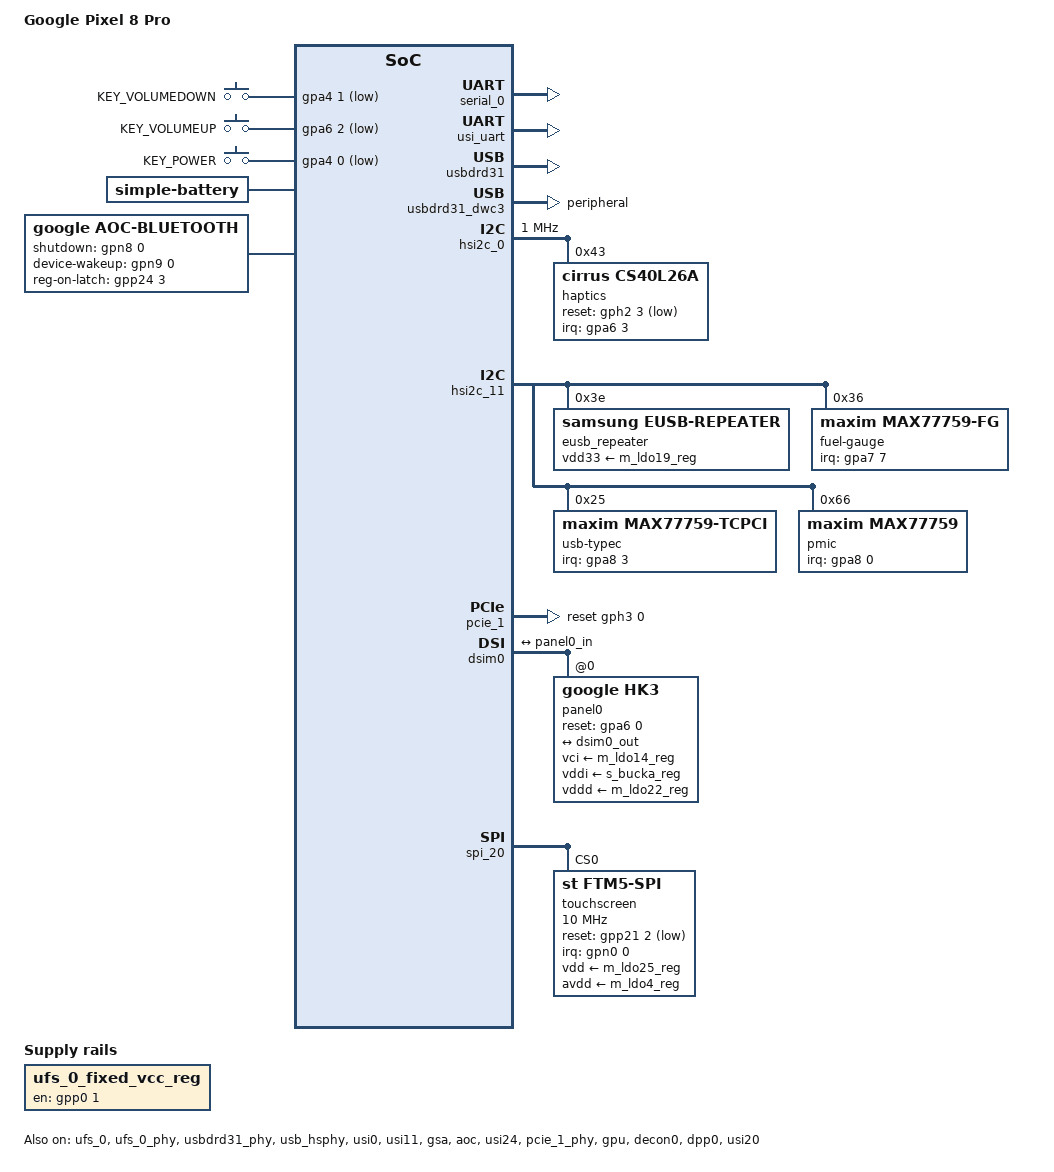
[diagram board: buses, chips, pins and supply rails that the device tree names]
// SPDX-License-Identifier: GPL-2.0-only
/*
 * Google Pixel 8 Pro (husky) device tree.
 *
 * Described and working: UFS, USB peripheral, buttons, ramoops, the s2mpg14/15
 * PMICs, the HK3 panel through DECON/DSIM, FTM5 touch (AoC tap to wake),
 * the Mali-G715 GPU, CPU DVFS and thermal, the MAX77759 fuel gauge, TCPC and
 * charger, CS40L26 haptics, the AoC (sensors, audio, Bluetooth) and the
 * BCM4398 Wi-Fi on PCIe. Not described yet: the Exynos 5300 modem, cameras,
 * fingerprint, USB host/dual-role and USB PD fast charging.
 *
 * Board values come from kernel/devices/google/shusky and .../zuma,
 * branch android-gs-shusky-6.1-android16:
 *  - keys gpa4-0 / gpa4-1 / gpa6-2 (zuma-common.dtsi) -- same as zumapro;
 *  - UFS VCC enable on gpp0-1 (zuma-ufs.dtsi);
 *  - eUSB2 repeater @0x3e on hsi2c_11, with shusky's tuning
 *    (zuma-shusky-usb.dtsi; zumapro boards use hsi2c_9);
 *  - DECON0 at 0x19470000 (zuma-drm-dpu.dtsi).
 */

/dts-v1/;

#include <dt-bindings/gpio/gpio.h>
#include <dt-bindings/input/input.h>
#include <dt-bindings/usb/pd.h>
#include "zumapro-pinctrl.h"
#include "zuma.dtsi"
#include "zumapro-caimito-cs35l41.dtsi"

/ {
	model = "Google Pixel 8 Pro";
	compatible = "google,husky", "google,zuma-husky", "google,zuma";
	chassis-type = "handset";

	aliases {
		serial0 = &serial_0;
	};

	chosen {
		/*
		 * The bootloader requires bootargs to exist. Its content is
		 * unused: CONFIG_CMDLINE_FORCE replaces it.
		 */
		bootargs = "";

		/* Filled at boot with an allowlist of the bootloader's board info
		 * (stage/major/minor, sku), which the Wi-Fi driver uses to pick
		 * region files; see luma_import_board_info(). */
		config {
		};

		plat {
		};
	};

	/*
	 * Only the first 2 GiB bank is described here (inherited from
	 * zumapro.dtsi). The other banks are imported from the bootloader's
	 * FDT at boot (luma_import_memory()).
	 */

	gpio-keys {
		compatible = "gpio-keys";
		pinctrl-0 = <&key_voldown>, <&key_volup>, <&key_power>;
		pinctrl-names = "default";

		button-vol-down {
			label = "KEY_VOLUMEDOWN";
			linux,code = <KEY_VOLUMEDOWN>;
			gpios = <&gpa4 1 GPIO_ACTIVE_LOW>;
			wakeup-source;
		};

		button-vol-up {
			label = "KEY_VOLUMEUP";
			linux,code = <KEY_VOLUMEUP>;
			gpios = <&gpa6 2 GPIO_ACTIVE_LOW>;
			wakeup-source;
		};

		button-power {
			label = "KEY_POWER";
			linux,code = <KEY_POWER>;
			gpios = <&gpa4 0 GPIO_ACTIVE_LOW>;
			wakeup-source;
		};
	};

	ufs_0_fixed_vcc_reg: regulator-1 {
		compatible = "regulator-fixed";
		regulator-name = "ufs-vcc";
		gpio = <&gpp0 1 GPIO_ACTIVE_HIGH>;
		enable-active-high;
		regulator-boot-on;
		/* Nothing else holds it; without always-on the rootfs loses power. */
		regulator-always-on;
	};
};

&pinctrl_gpio_alive {
	key_power: key-power-pins {
		samsung,pins = "gpa4-0";
		samsung,pin-function = <GS101_PIN_FUNC_EINT>;
		samsung,pin-pud = <GS101_PIN_PULL_UP>;
		samsung,pin-drv = <GS101_PIN_DRV_2_5_MA>;
	};

	key_volup: key-volup-pins {
		samsung,pins = "gpa6-2";
		samsung,pin-function = <GS101_PIN_FUNC_EINT>;
		samsung,pin-pud = <GS101_PIN_PULL_NONE>;
		samsung,pin-drv = <GS101_PIN_DRV_2_5_MA>;
	};

	key_voldown: key-voldown-pins {
		samsung,pins = "gpa4-1";
		samsung,pin-function = <GS101_PIN_FUNC_EINT>;
		samsung,pin-pud = <GS101_PIN_PULL_NONE>;
		samsung,pin-drv = <GS101_PIN_DRV_2_5_MA>;
	};

	/* FG_INT_L, XEINT_21 (zuma-shusky-battery.dtsi if_pmic_fg_irq) */
	if_pmic_fg_int: if-pmic-fg-int-pins {
		samsung,pins = "gpa7-7";
		samsung,pin-function = <GS101_PIN_FUNC_EINT>;
		samsung,pin-pud = <GS101_PIN_PULL_UP>;
	};

	/* USB_PD_INT_L (max777x9-tcpc.dtsi usb_pd_irq), as Pixel 9 */
	typec_int: typec-int-pins {
		samsung,pins = "gpa8-3";
		samsung,pin-function = <GS101_PIN_FUNC_EINT>;
		samsung,pin-pud = <GS101_PIN_PULL_UP>;
		samsung,pin-drv = <GS101_PIN_DRV_2_5_MA>;
	};

	/* IF_PMIC_INT_L (zuma-shusky-battery.dtsi if_pmic_irq), as Pixel 9 */
	if_pmic_int: if-pmic-int-pins {
		samsung,pins = "gpa8-0";
		samsung,pin-function = <GS101_PIN_FUNC_EINT>;
		samsung,pin-pud = <GS101_PIN_PULL_UP>;
		samsung,pin-drv = <GS101_PIN_DRV_2_5_MA>;
	};

	/* Haptics IRQ, XEINT_11 (zuma-shusky-haptics.dtsi hapt_amp1_irq) */
	hapt_amp1_irq: hapt-amp1-irq-pins {
		samsung,pins = "gpa6-3";
		samsung,pin-function = <GS101_PIN_FUNC_EINT>;
		samsung,pin-pud = <GS101_PIN_PULL_NONE>;
	};
};

&pinctrl_hsi1 {
	/* Haptics reset (active low) and trigger, XHSI1_GPIO13 / GPIO10 */
	hapt_amp1_rst: hapt-amp1-rst-pins {
		samsung,pins = "gph2-3";
		samsung,pin-function = <GS101_PIN_FUNC_OUTPUT>;
		samsung,pin-pud = <GS101_PIN_PULL_NONE>;
	};

	hapt_amp_trig: hapt-amp-trig-pins {
		samsung,pins = "gph2-0";
		samsung,pin-function = <GS101_PIN_FUNC_OUTPUT>;
		samsung,pin-pud = <GS101_PIN_PULL_NONE>;
	};
};

&ext_24_5m {
	clock-frequency = <24576000>;
};

&ext_200m {
	clock-frequency = <200000000>;
};

&ext_26m {
	clock-frequency = <26000000>;
};

&ext_1m {
	clock-frequency = <1000000>;
};

&serial_0 {
	status = "okay";
};

&usi_uart {
	samsung,clkreq-on;
	status = "okay";
};

&ufs_0 {
	/*
	 * Only VCC is switched (gpp0-1). VCCQ and the host's rails are
	 * always-on PMIC rails (downstream zuma-pmic.dtsi: L6M_HSI, L24S_HSI,
	 * L2S_PLL_MIPI_UFS) that downstream does not hand to UFS either.
	 */
	vcc-supply = <&ufs_0_fixed_vcc_reg>;
	vcc-max-microamp = <0>;
	status = "okay";
};

&ufs_0_phy {
	status = "okay";
};

/* USB: peripheral only (no USB-C controller yet), for the NCM gadget. */
&usbdrd31 {
	status = "okay";
};

&usbdrd31_dwc3 {
	dr_mode = "peripheral";
	maximum-speed = "high-speed";
	status = "okay";
};

&usbdrd31_phy {
	status = "okay";
};

&usb_hsphy {
	vdd-supply = <&m_ldo8_reg>;
	vdda12-supply = <&m_ldo9_reg>;
	status = "okay";
};

/*
 * Haptics: Cirrus CS40L26A on hsi2c_0 @0x43, values from
 * zuma-shusky-haptics.dtsi. The driver (drivers/input/misc/cs40l26, from
 * Google's downstream) loads cs40l26.wmfw and the cs40l26*.bin wavetables
 * from husky's vendor partition; they are not redistributable and are never
 * shipped with the kernel. VA/VP have no regulator here: the bootloader leaves
 * both on. The ASoC codec child (haptics from the AoC audio path) is not
 * described yet.
 */
&usi0 {
	samsung,mode = <USI_MODE_I2C>;
	status = "okay";
};

&hsi2c_0 {
	clock-frequency = <1000000>;
	status = "okay";

	haptics@43 {
		compatible = "cirrus,cs40l26a";
		reg = <0x43>;
		input-device-name = "cs40l26_input";
		pinctrl-0 = <&hapt_amp1_irq>, <&hapt_amp1_rst>, <&hapt_amp_trig>;
		pinctrl-names = "default";
		interrupts-extended = <&gpa6 3 IRQ_TYPE_LEVEL_LOW>;
		reset-gpios = <&gph2 3 GPIO_ACTIVE_LOW>;

		cirrus,bst-dcm-en = <0>;
		cirrus,pwle-zero-cross-en;
		cirrus,vpbr-enable;
		cirrus,vpbr-thld-uv = <3008000>;	/* 3.008 V */
		cirrus,bst-expl-mode-disable;
		cirrus,bst-ipk-microamp = <2500000>;	/* 2.5 A */
		cirrus,bst-ctl-microvolt = <11000000>;	/* 11 V */
		cirrus,f0-default = <0x244000>;		/* 145 Hz */
		cirrus,redc-default = <0x68000>;	/* 13 Ohm */
		cirrus,pm-active-timeout-ms = <5>;
	};
};

&usi11 {
	samsung,mode = <USI_MODE_I2C>;
	status = "okay";
};

&hsi2c_11 {
	status = "okay";

	eusb_repeater: eusb-repeater@3e {
		compatible = "samsung,eusb-repeater";
		reg = <0x3e>;
		#phy-cells = <0>;
		vdd33-supply = <&m_ldo19_reg>;
		/* zuma-shusky-usb.dtsi repeater_tune1..8 */
		samsung,tune-param = <0x50 0x0a>,
				     <0x70 0x3c>,
				     <0x71 0x2c>,
				     <0x72 0x90>,
				     <0x73 0x83>,
				     <0x77 0x00>,
				     <0x78 0x0b>,
				     <0x79 0x40>;
	};

	/*
	 * The MAX77759's fuel gauge (zuma-shusky-battery.dtsi max77759_fg),
	 * read-only: with no monitored-battery the driver never reprograms
	 * the gauge, so it keeps the model Android learned.
	 */
	fuel-gauge@36 {
		compatible = "maxim,max77759-fg";
		reg = <0x36>;
		pinctrl-0 = <&if_pmic_fg_int>;
		pinctrl-names = "default";
		interrupts-extended = <&gpa7 7 IRQ_TYPE_LEVEL_LOW>;
		/* maxim,rsense-default = <500> (10 uOhm units) */
		shunt-resistor-micro-ohms = <5000>;
	};

	/*
	 * USB-C: the MAX77759 TCPC as a sink-only, device-only port with PD
	 * off, and no role-switch/orientation links, so it never sources VBUS
	 * or moves the dwc3 off the peripheral role. Its job is to tell the
	 * charger what the source offers (Rp current). Until the charger
	 * driver loads, charging stays as the bootloader set it. Dual-role,
	 * PD/PPS and the PCA9468 fast charger come later.
	 */
	usb-typec@25 {
		compatible = "maxim,max77759-tcpci", "maxim,max33359";
		reg = <0x25>;
		interrupts-extended = <&gpa8 3 IRQ_TYPE_LEVEL_LOW>;
		pinctrl-0 = <&typec_int>;
		pinctrl-names = "default";

		connector {
			compatible = "usb-c-connector";
			label = "USB-C";
			data-role = "device";
			power-role = "sink";
			self-powered;
			op-sink-microwatt = <2600000>;
			slow-charger-loop;
			sink-pdos = <PDO_FIXED(5000, 3000, PDO_FIXED_USB_COMM)>;
			pd-disable;
			typec-power-opmode = "default";
		};
	};

	/*
	 * The MAX77759 PMIC: its MFD creates the charger cell. The mainline
	 * charger switches charging off at probe and back on only while the
	 * TCPC reports a source; it programs the battery node below, which
	 * repeats exactly what husky's bootloader leaves set (CHG_CNFG_02
	 * 0x1d = 1.933 A, CHG_CNFG_04 0x23 = 4.35 V). Stock
	 * Android steps 4.20-4.48 V by temperature (zuma-shusky-battery.dtsi);
	 * neither the bootloader nor this does, so stay at the bootloader's
	 * values.
	 */
	pmic@66 {
		compatible = "maxim,max77759";
		reg = <0x66>;
		pinctrl-0 = <&if_pmic_int>;
		pinctrl-names = "default";
		interrupts-extended = <&gpa8 0 IRQ_TYPE_LEVEL_LOW>;
		interrupt-controller;
		#interrupt-cells = <2>;
		monitored-battery = <&battery>;

		gpio {
			compatible = "maxim,max77759-gpio";
			gpio-controller;
			#gpio-cells = <2>;
			interrupt-controller;
			#interrupt-cells = <2>;
		};
	};
};

/ {
	battery: battery {
		compatible = "simple-battery";
		charge-full-design-microamp-hours = <4950000>;
		constant-charge-current-max-microamp = <1933420>;
		constant-charge-voltage-max-microvolt = <4350000>;
	};
};

/* Ramoops geometry matching the zumapro boards' stock layout. */
&{/reserved-memory/ramoops@fd3ff000} {
	record-size = <0>;
	console-size = <0x200000>;
	pmsg-size = <0x200000>;
};

/* Everything not yet driven stays off. */

/*
 * AoC (Always-On Compute): audio, sensors and the Bluetooth HCI path.  Same
 * blocks and carveout as zumapro; husky's own image from the vendor partition
 * (firmware/aoc.bin, not redistributable) staged as google/zuma/aoc.bin.
 * Board id/rev from downstream zuma-husky-audio.dtsi (aoc-board-cfg "HK3").
 */
&gsa {
	status = "okay";
};

&aoc {
	firmware-name = "google/zuma/aoc.bin";
	aoc-board-id = <0x40202>;
	aoc-board-rev = <0x10000>;

	sensor_1v8-supply = <&s_ldo7_reg>;
	sensor_3v3-supply = <&s_ldo5_reg>;

	/*
	 * husky's sensor registry: /vendor/etc/sensors/registry, copied
	 * unmodified.  Each script filters itself by the CDT built from
	 * /chosen/plat; common first, stage scripts, then the appends.
	 */
	google,usf-registry = "google/usf/husky/husky_common.reg",
			      "google/usf/husky/husky_proto_1_0.reg",
			      "google/usf/husky/husky_proto_1_1.reg",
			      "google/usf/husky/husky_evt.reg",
			      "google/usf/husky/husky_dvt.reg",
			      "google/usf/husky/append/motion_state.reg",
			      "google/usf/husky/append/power.reg";
	status = "okay";
};

/*
 * Speakers: the same two CS35L41 amplifiers on spi_19 (HSI0 USI1) as Pixel 9,
 * fed by the AoC's TDM_0 (zumapro-caimito-cs35l41.dtsi, aoc-sound card). The
 * right amp is wired identically; the left amp's interrupt and reset differ
 * (downstream zuma-shusky-audio.dtsi: INTB gpa5-2, RESET gpp1-1, plain GPIO,
 * so no pinmux). The HSI0 USI1 clock gate, mux, divider and sysreg offsets
 * match downstream zuma.
 */
&usi24 {
	samsung,mode = <USI_MODE_SPI>;
	status = "okay";
};

&cs35l41_l {
	/delete-property/ pinctrl-names;
	/delete-property/ pinctrl-0;
	interrupts = <2 IRQ_TYPE_LEVEL_LOW>;
	reset-gpios = <&gpp1 1 GPIO_ACTIVE_HIGH>;
	/* speaker protection: cirrus/cs35l41-dsp1-spk-prot-husky.{wmfw,bin} */
	cirrus,subsystem-id = "husky";
};

&cs35l41_r {
	/* ... and the right amp's tuning, cs35l41-dsp1-spk-prot-husky-r.bin */
	cirrus,subsystem-id = "husky";
};

/ {
	/* The AoC sensor hub (com.google.usf service), bridged to IIO. */
	aoc_usf: aoc-usf {
		compatible = "google,aoc-usf";
		google,aoc = <&aoc>;
	};

	/*
	 * Touch Bus Negotiator in AoC-channel mode (tbn,mode = 2): the touch
	 * SPI bus is handed between AP and AoC by messages on the AoC's
	 * com.google.tbn_service. One consumer, the FTM5.
	 */
	tbn: tbn {
		compatible = "touch_bus_negotiator";
		google,aoc = <&aoc>;
		tbn,mode = <2>;
		tbn,max_devices = <1>;
	};

	/*
	 * Gestures the AoC watches on the dark panel: the FTM5 touch gesture
	 * sensor (tap to wake, KEY_WAKEUP) and long press. Armed only while
	 * the panel is off.
	 */
	aoc-gesture-wake {
		compatible = "google,aoc-gesture-wake";
		google,aoc = <&aoc>;
		panel = <&panel0>;
	};
};

&pcie_0 {
	status = "disabled";
};

&pcie_0_phy {
	status = "disabled";
};

/*
 * Wi-Fi/BT: BCM4398 on PCIe CH1 (HSI2 GEN3A_1, Gen3 x1). Pins from
 * downstream zuma-board-wlan.dtsi / zuma-pcie.dtsi: PERST gph3-0, CLKREQ
 * gph3-1, WLAN_EN gph3-4, WL_DEV_WAKE gph3-5, WL_HOST_WAKE gpa5-1 (Pixel 9
 * uses gpa5-3). Clocks come from zuma's own HSI2 table (zuma.dtsi).
 */
&pcie_1_phy {
	status = "okay";
};

&pcie_1 {
	pinctrl-0 = <&pcie1_clkreq &pcie1_perst>;
	pinctrl-names = "default";
	reset-gpios = <&gph3 0 GPIO_ACTIVE_HIGH>;	/* PERST */
	wlan-reg-on-gpios = <&gph3 4 GPIO_ACTIVE_HIGH>;	/* WLAN_EN */
	host-wake-gpios = <&gpa5 1 GPIO_ACTIVE_HIGH>;	/* WL_HOST_WAKE */
	device-wake-gpios = <&gph3 5 GPIO_ACTIVE_HIGH>;	/* WL_DEV_WAKE */
	status = "okay";
};

/*
 * Bluetooth half of the BCM4398. Its HCI UART lands on the AoC, not the AP:
 * the vendor HAL talks to the AoC's btproxy (bt_vendor_overlay.conf:
 * UserialTypePriority = 2-1, AocPowerPinCtrlCheckEnable on DVT and later), and
 * the AoC exposes the same chre_bt_offload_* services as Pixel 9's, so the
 * transport is hci_aoc (a module, loaded after the AoC). The AP owns only
 * the power/wake pins, as downstream's nitrous node. The AP UART (APM_USI1,
 * serial_18) stays off: the chip never answers HCI there.
 */
&usi18 {
	samsung,clkreq-on; /* needed for UART mode */
	status = "disabled";
};

&serial_18 {
	status = "disabled";
};

/ {
	bluetooth {
		compatible = "google,aoc-bluetooth";
		aoc = <&aoc>;
		shutdown-gpios = <&gpn8 0 GPIO_ACTIVE_HIGH>;		/* BT_REG_ON */
		device-wakeup-gpios = <&gpn9 0 GPIO_ACTIVE_HIGH>;	/* BT_DEV_WAKE */
		/* bt-ble-dbo-le downstream: clocks BT_REG_ON into the chip */
		reg-on-latch-gpios = <&gpp24 3 GPIO_ACTIVE_HIGH>;
	};
};

/*
 * Platform node the bcmdhd driver finds by compatible (it is not the PCIe
 * endpoint, which binds by PCI id under &pcie_1). WLAN_EN is driven by
 * pci-exynos to bring the link up; bcmdhd re-requests it and tolerates the
 * request failing. Same layout as zumapro-caimito-bcm4390.dtsi, with husky's
 * host-wake line (gpa5-1) and PCI domain.
 */
/ {
	wlan {
		compatible = "android,bcmdhd_wlan";
		wl_reg_on = <&gph3 4 GPIO_ACTIVE_HIGH>;		/* WLAN_EN */
		wl_host_wake = <&gpa5 1 GPIO_ACTIVE_HIGH>;	/* WL_HOST_WAKE */
		/* PCI domain of the endpoint (0000:01:00.0), not the HSI2
		 * channel: dhd looks the endpoint up with pci_find_bus(ch-num, 1),
		 * and pcie_1 is husky's only enabled controller, so domain 0. */
		ch-num = <0>;
		status = "okay";
	};
};

/*
 * ---------------------------------------------------------------------------
 * Stage 2: PMICs, display pipeline, HK3 panel
 * ---------------------------------------------------------------------------
 *
 * The s2mpg14 (main) and s2mpg15 (sub) PMICs sit behind ACPM, exactly as on
 * zumapro (downstream zumapro-pmic.dtsi includes zuma/zuma-pmic.dtsi).  Only
 * rails with a consumer here are described; everything else stays where the
 * bootloader left it.  The panel wiring is verified against the bootloader
 * DTB: reset gpa6-0, VCI = LDO14M, VDDI = BUCKA, VDDD = LDO22M, TE = gpp0-3.
 */
&acpm_ipc {
	pmic-1 {
		compatible = "samsung,s2mpg14-pmic";
		interrupt-parent = <&vgpio2ap>;
		interrupts = <0 IRQ_TYPE_LEVEL_HIGH>;
		wakeup-source;

		regulators {
			m_ldo14_reg: ldo14m {
				/* no voltage constraint: keep the bootloader's level */
				regulator-name = "L14M_DISP_VCI";
			};

			m_ldo22_reg: ldo22m {
				regulator-name = "L22M_DISP_VDDD";
			};

			m_ldo4_reg: ldo4m {
				regulator-name = "L4M_TS_AVDD";
			};

			m_ldo25_reg: ldo25m {
				regulator-name = "L25M_TSP_DVDD";
			};

			/*
			 * eUSB rails (downstream zuma-pmic.dtsi L8M_EUSB,
			 * L9M_EUSB, L19M_EUSB). Downstream never switches
			 * LDO8M/LDO9M (initial mode on, no consumer), so they
			 * stay always-on here too: the eUSB2 PHY would otherwise
			 * cut them on every power-off. No voltage constraints:
			 * keep the bootloader's levels.
			 */
			m_ldo8_reg: ldo8m {
				regulator-name = "L8M_EUSB";
				regulator-always-on;
			};

			m_ldo9_reg: ldo9m {
				regulator-name = "L9M_EUSB";
				regulator-always-on;
			};

			m_ldo19_reg: ldo19m {
				regulator-name = "L19M_EUSB";
			};
		};
	};

	pmic-2 {
		compatible = "samsung,s2mpg15-pmic";
		interrupt-parent = <&vgpio2ap>;
		interrupts = <1 IRQ_TYPE_LEVEL_HIGH>;
		wakeup-source;

		regulators {
			s_bucka_reg: bucka {
				regulator-name = "S2MPG15_BUCKA";
				regulator-min-microvolt = <1700000>;
				regulator-max-microvolt = <2100000>;
				regulator-always-on;
			};

			s_ldo1_reg: ldo1s {
				/*
				 * L1S_VDD_G3D_M, the GPU SRAM rail; ACPM owns the
				 * calibrated G3D core and L2 voltages.  No voltage
				 * constraint: keep the bootloader's level.
				 */
				regulator-name = "L1S_VDD_G3D_M";
				regulator-always-on;
			};

			/*
			 * The AoC's sensor rails (downstream zuma-common.dtsi:
			 * sensor_1v8 = LDO7S, sensor_3v3 = LDO5S).  Enable-only:
			 * the bootloader's levels are what the sensors expect.
			 */
			s_ldo5_reg: ldo5s {
				regulator-name = "L5S_PROX";
				regulator-always-on;
			};

			s_ldo7_reg: ldo7s {
				regulator-name = "L7S_SENSORS";
				regulator-always-on;
			};
		};
	};
};

/*
 * panthor.  The bootloader leaves both G3D power domains on (zumapro.dtsi
 * marks them always-on, as on Pixel 9).  Firmware: linux-firmware
 * arm/mali/arch11.8/mali_csffw.bin, in the built-in initramfs.
 */
&gpu {
	sram-supply = <&s_ldo1_reg>;
	status = "okay";
};

&decon0 {
	status = "okay";
};

&dpu_dma {
	status = "okay";
};

&dpp0 {
	status = "okay";
};

&dsim0 {
	status = "okay";

	panel0: panel@0 {
		compatible = "google,hk3";
		reg = <0>;
		reset-gpios = <&gpa6 0 GPIO_ACTIVE_HIGH>;
		vci-supply = <&m_ldo14_reg>;
		vddi-supply = <&s_bucka_reg>;
		vddd-supply = <&m_ldo22_reg>;

		port {
			panel0_in: endpoint {
				remote-endpoint = <&dsim0_out>;
			};
		};
	};

	ports {
		port@1 {
			reg = <1>;
			dsim0_out: endpoint {
				remote-endpoint = <&panel0_in>;
			};
		};
	};
};

/*
 * Touch: ST FTM5 (D-chip 0x36 0x40) on SPI20, native chip select.  Verified
 * against the bootloader DTB: spi@111d0000 with no pinctrl, IRQ gpn0-0,
 * reset gpp21-2 (low = reset), DVDD = LDO25M, AVDD = LDO4M.
 */
&pinctrl_gpio_custom_alive {
	ts_irq: ts-irq-pins {
		samsung,pins = "gpn0-0";
		samsung,pin-function = <GS101_PIN_FUNC_EINT>;
		samsung,pin-pud = <GS101_PIN_PULL_NONE>;
		samsung,pin-drv = <GS101_PIN_DRV_2_5_MA>;
	};
};

&usi20 {
	samsung,mode = <USI_MODE_SPI>;
	status = "okay";
};

&spi_20 {
	num-cs = <1>;
	status = "okay";

	touchscreen@0 {
		compatible = "st,ftm5-spi";
		reg = <0>;
		spi-max-frequency = <10000000>;
		pinctrl-names = "default";
		pinctrl-0 = <&ts_irq>;
		interrupts-extended = <&gpn0 0 IRQ_TYPE_LEVEL_LOW>;
		reset-gpios = <&gpp21 2 GPIO_ACTIVE_LOW>;
		vdd-supply = <&m_ldo25_reg>;
		avdd-supply = <&m_ldo4_reg>;
		touchscreen-size-x = <1344>;
		touchscreen-size-y = <2992>;
		/*
		 * While this panel is powered down the bus belongs to the AoC
		 * (Touch Bus Negotiator), which watches for tap to wake.
		 */
		panel = <&panel0>;
		goog,tbn-enabled;

		controller-data {
			samsung,spi-feedback-delay = <0>;
			samsung,spi-chip-select-mode = <0>;
			cs-clock-delay = <2>;
		};
	};
};
